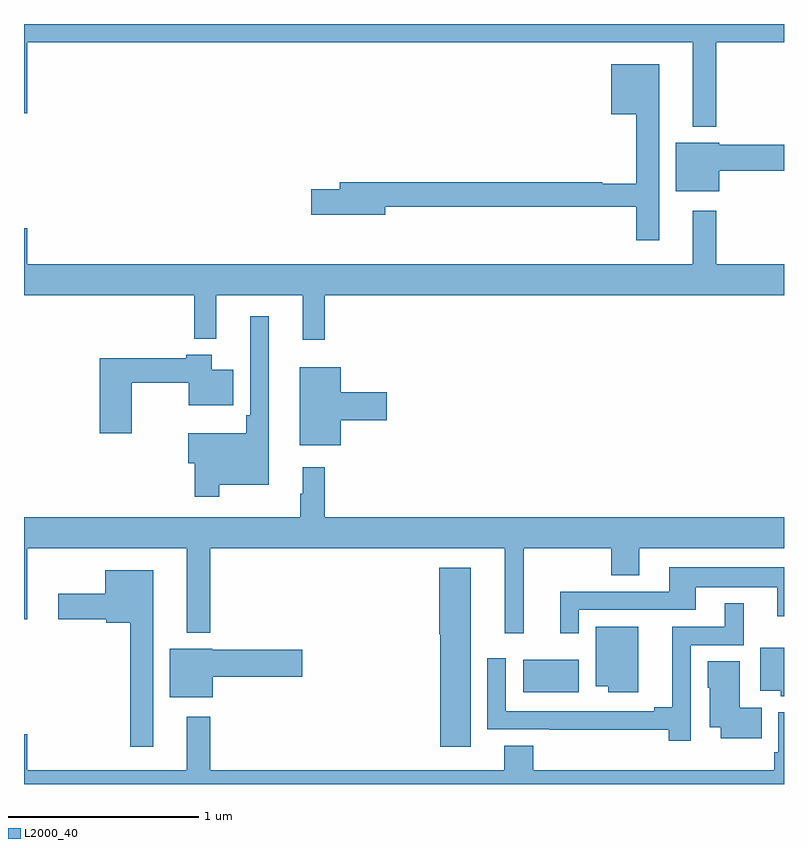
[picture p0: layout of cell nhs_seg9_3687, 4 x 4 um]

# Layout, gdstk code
import gdstk
lib = gdstk.Library(unit=1e-6, precision=1e-09)
def R(c, l, rs):  # rectangles x0, y0, x1, y1
    for r in rs: c.add(gdstk.rectangle(r[:2], r[2:], *l))
def P(c, l, *ps):  # polygons
    for p in ps: c.add(gdstk.Polygon(p, *l))
L2000_40 = (2000, 40)

nhs_seg9_3687 = lib.new_cell('nhs_seg9_3687')
R(nhs_seg9_3687, L2000_40, [(323.627,1208.984,323.92,1209.154)])
P(nhs_seg9_3687, L2000_40, [(324.643,1212.404),(325,1212.404),(325,1212.5),(321,1212.5),(321,1212.03),(321.016,1212.03),(321.016,1212.404),(324.521,1212.404),(324.521,1211.96),(324.643,1211.96)],
  [(324.343,1212.289),(324.092,1212.289),(324.092,1212.026),(324.222,1212.026),(324.222,1211.659),(324.043,1211.659),(324.043,1211.666),(322.661,1211.666),(322.661,1211.63),(322.512,1211.63),(322.512,1211.495),(322.9,1211.495),(322.9,1211.538),(324.222,1211.538),(324.222,1211.361),(324.343,1211.361)],
  [(324.658,1211.728),(325,1211.728),(325,1211.864),(324.658,1211.864),(324.658,1211.875),(324.431,1211.875),(324.431,1211.621),(324.658,1211.621)],
  [(322.583,1211.072),(325,1211.072),(325,1211.236),(324.643,1211.236),(324.643,1211.518),(324.521,1211.518),(324.521,1211.236),(321.016,1211.236),(321.016,1211.425),(321,1211.425),(321,1211.072),(321.895,1211.072),(321.895,1210.844),(322.013,1210.844),(322.013,1211.072),(322.466,1211.072),(322.466,1210.839),(322.583,1210.839)],
  [(322.027,1210.076),(322.288,1210.076),(322.288,1210.963),(322.191,1210.963),(322.191,1210.441),(322.171,1210.441),(322.171,1210.345),(321.864,1210.345),(321.864,1210.187),(321.898,1210.187),(321.898,1210.011),(322.027,1210.011)],
  [(321.568,1210.612),(321.866,1210.612),(321.866,1210.493),(322.102,1210.493),(322.102,1210.681),(321.988,1210.681),(321.988,1210.759),(321.854,1210.759),(321.854,1210.741),(321.398,1210.741),(321.398,1210.347),(321.568,1210.347)],
  [(322.666,1210.415),(322.909,1210.415),(322.909,1210.562),(322.666,1210.562),(322.666,1210.693),(322.451,1210.693),(322.451,1210.283),(322.666,1210.283)],
  [(323.63,1209.74),(324.091,1209.74),(324.091,1209.598),(324.238,1209.598),(324.238,1209.74),(325,1209.74),(325,1209.904),(322.583,1209.904),(322.583,1210.168),(322.466,1210.168),(322.466,1210.028),(322.455,1210.028),(322.455,1209.904),(321,1209.904),(321,1209.366),(321.016,1209.366),(321.016,1209.74),(321.857,1209.74),(321.857,1209.296),(321.979,1209.296),(321.979,1209.74),(323.531,1209.74),(323.531,1209.294),(323.63,1209.294)],
  [(323.919,1209.417),(324.535,1209.417),(324.535,1209.536),(324.965,1209.536),(324.965,1209.384),(325,1209.384),(325,1209.64),(324.395,1209.64),(324.395,1209.513),(323.822,1209.513),(323.822,1209.294),(323.919,1209.294)],
  [(323.35,1209.637),(323.186,1209.637),(323.186,1209.288),(323.192,1209.288),(323.192,1208.697),(323.35,1208.697)],
  [(321.679,1209.625),(321.428,1209.625),(321.428,1209.502),(321.18,1209.502),(321.18,1209.368),(321.432,1209.368),(321.432,1209.35),(321.558,1209.35),(321.558,1208.697),(321.679,1208.697)],
  [(324.51,1209.231),(324.787,1209.231),(324.787,1209.451),(324.689,1209.451),(324.689,1209.327),(324.413,1209.327),(324.413,1208.903),(324.317,1208.903),(324.317,1208.883),(323.535,1208.883),(323.535,1209.163),(323.439,1209.163),(323.439,1208.787),(323.764,1208.787),(323.764,1208.786),(324.394,1208.786),(324.394,1208.727),(324.51,1208.727)],
  [(324.232,1209.328),(324.008,1209.328),(324.008,1209.014),(324.074,1209.014),(324.074,1208.984),(324.232,1208.984)],
  [(325,1209.217),(324.875,1209.217),(324.875,1208.99),(324.984,1208.99),(324.984,1208.963),(325,1208.963)],
  [(321.994,1209.064),(322.465,1209.064),(322.465,1209.206),(321.99,1209.206),(321.99,1209.211),(321.767,1209.211),(321.767,1208.957),(321.994,1208.957)],
  [(324.884,1208.902),(324.766,1208.902),(324.766,1209.146),(324.599,1209.146),(324.599,1209.006),(324.608,1209.006),(324.608,1208.798),(324.668,1208.798),(324.668,1208.741),(324.884,1208.741)],
  [(325,1208.878),(324.969,1208.878),(324.969,1208.668),(324.949,1208.668),(324.949,1208.572),(323.681,1208.572),(323.681,1208.702),(323.528,1208.702),(323.528,1208.572),(321.979,1208.572),(321.979,1208.854),(321.857,1208.854),(321.857,1208.572),(321.016,1208.572),(321.016,1208.761),(321,1208.761),(321,1208.5),(325,1208.5)])

lib.write_gds('nhs_seg9_3687.gds')
